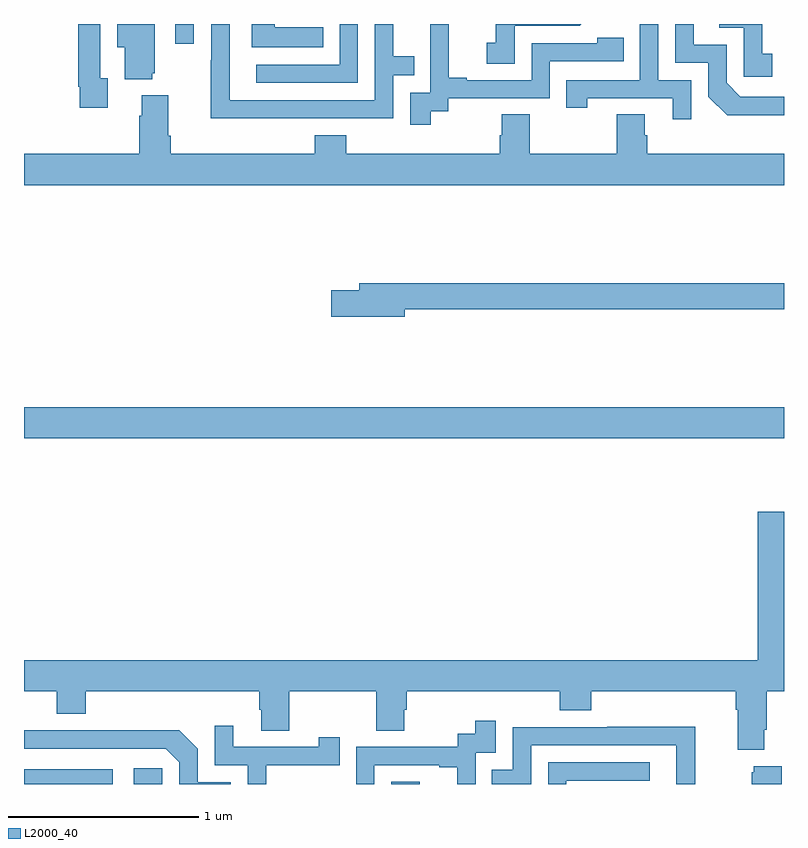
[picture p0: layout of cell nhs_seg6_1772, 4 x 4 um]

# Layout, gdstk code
import gdstk
lib = gdstk.Library(unit=1e-6, precision=1e-09)
def R(c, l, rs):  # rectangles x0, y0, x1, y1
    for r in rs: c.add(gdstk.rectangle(r[:2], r[2:], *l))
def P(c, l, *ps):  # polygons
    for p in ps: c.add(gdstk.Polygon(p, *l))
L2000_40 = (2000, 40)

nhs_seg6_1772 = lib.new_cell('nhs_seg6_1772')
R(nhs_seg6_1772, L2000_40, [(217,961.5,217.468,961.578), (217.578,961.5,217.728,961.582), (218.934,961.5,219.082,961.513), (217,963.32,221,963.484), (217.797,965.397,217.893,965.5)])
P(nhs_seg6_1772, L2000_40, [(220.512,965.205),(220.338,965.205),(220.338,965.5),(220.242,965.5),(220.242,965.205),(219.853,965.205),(219.853,965.058),(219.964,965.058),(219.964,965.109),(220.415,965.109),(220.415,964.998),(220.512,964.998)],
  [(219.582,965.49),(219.924,965.49),(219.934,965.5),(219.484,965.5),(219.484,965.401),(219.435,965.401),(219.435,965.292),(219.582,965.292)],
  [(217.676,965.241),(217.687,965.241),(217.687,965.5),(217.49,965.5),(217.49,965.378),(217.529,965.378),(217.529,965.21),(217.676,965.21)],
  [(218.757,965.5),(218.661,965.5),(218.661,965.286),(218.223,965.286),(218.223,965.19),(218.757,965.19)],
  [(219.142,965.041),(219.234,965.041),(219.234,965.109),(219.768,965.109),(219.768,965.304),(220.157,965.304),(220.157,965.427),(220.017,965.427),(220.017,965.4),(219.672,965.4),(219.672,965.205),(219.331,965.205),(219.331,965.218),(219.236,965.218),(219.236,965.5),(219.137,965.5),(219.137,965.369),(219.138,965.369),(219.138,965.139),(219.033,965.139),(219.033,964.971),(219.142,964.971)],
  [(218.576,965.482),(218.319,965.482),(218.319,965.5),(218.198,965.5),(218.198,965.378),(218.576,965.378)],
  [(218.447,965.004),(218.943,965.004),(218.943,965.229),(219.053,965.229),(219.053,965.33),(218.943,965.33),(218.943,965.5),(218.847,965.5),(218.847,965.1),(218.082,965.1),(218.082,965.5),(217.986,965.5),(217.986,965.309),(217.984,965.309),(217.984,965.003),(218.447,965.003)],
  [(220.939,965.343),(220.886,965.343),(220.886,965.5),(220.659,965.5),(220.659,965.481),(220.788,965.481),(220.788,965.223),(220.939,965.223)],
  [(221,965.118),(220.77,965.118),(220.698,965.19),(220.698,965.391),(220.525,965.391),(220.525,965.5),(220.428,965.5),(220.428,965.295),(220.602,965.295),(220.602,965.118),(220.7,965.021),(221,965.021)],
  [(217.441,965.214),(217.401,965.214),(217.401,965.5),(217.285,965.5),(217.285,965.17),(217.293,965.17),(217.293,965.058),(217.441,965.058)],
  [(221,964.816),(220.28,964.816),(220.28,964.914),(220.267,964.914),(220.267,965.024),(220.12,965.024),(220.12,964.816),(219.663,964.816),(219.663,965.024),(219.515,965.024),(219.515,964.914),(219.503,964.914),(219.503,964.816),(218.696,964.816),(218.696,964.915),(218.531,964.915),(218.531,964.816),(217.772,964.816),(217.772,964.912),(217.759,964.912),(217.759,965.125),(217.619,965.125),(217.619,965.018),(217.607,965.018),(217.607,964.816),(217,964.816),(217,964.652),(221,964.652)],
  [(219.004,964),(221,964),(221,964.136),(218.765,964.136),(218.765,964.1),(218.616,964.1),(218.616,963.958),(219.004,963.958)],
  [(220.897,961.786),(220.91,961.786),(220.91,961.988),(221,961.988),(221,962.932),(220.862,962.932),(220.862,962.152),(217,962.152),(217,961.988),(217.172,961.988),(217.172,961.871),(217.325,961.871),(217.325,961.988),(218.237,961.988),(218.237,961.89),(218.249,961.89),(218.249,961.78),(218.397,961.78),(218.397,961.988),(218.854,961.988),(218.854,961.78),(219.001,961.78),(219.001,961.89),(219.014,961.89),(219.014,961.988),(219.821,961.988),(219.821,961.889),(219.986,961.889),(219.986,961.988),(220.745,961.988),(220.745,961.892),(220.757,961.892),(220.757,961.679),(220.897,961.679)],
  [(218.844,961.599),(219.185,961.599),(219.185,961.587),(219.281,961.587),(219.281,961.5),(219.378,961.5),(219.378,961.665),(219.483,961.665),(219.483,961.834),(219.375,961.834),(219.375,961.764),(219.282,961.764),(219.282,961.695),(218.748,961.695),(218.748,961.5),(218.844,961.5)],
  [(218.274,961.599),(218.663,961.599),(218.663,961.747),(218.552,961.747),(218.552,961.695),(218.101,961.695),(218.101,961.807),(218.004,961.807),(218.004,961.599),(218.178,961.599),(218.178,961.5),(218.274,961.5)],
  [(219.669,961.704),(220.433,961.704),(220.433,961.5),(220.533,961.5),(220.533,961.802),(220.069,961.802),(220.069,961.8),(219.573,961.8),(219.573,961.575),(219.463,961.575),(219.463,961.5),(219.669,961.5)],
  [(218.088,961.509),(217.914,961.509),(217.914,961.686),(217.816,961.784),(217.408,961.784),(217.408,961.782),(217,961.782),(217,961.686),(217.746,961.686),(217.818,961.614),(217.818,961.5),(218.088,961.5)],
  [(219.855,961.518),(220.294,961.518),(220.294,961.614),(219.759,961.614),(219.759,961.5),(219.855,961.5)],
  [(220.987,961.594),(220.841,961.594),(220.841,961.563),(220.829,961.563),(220.829,961.5),(220.987,961.5)])

lib.write_gds('nhs_seg6_1772.gds')
